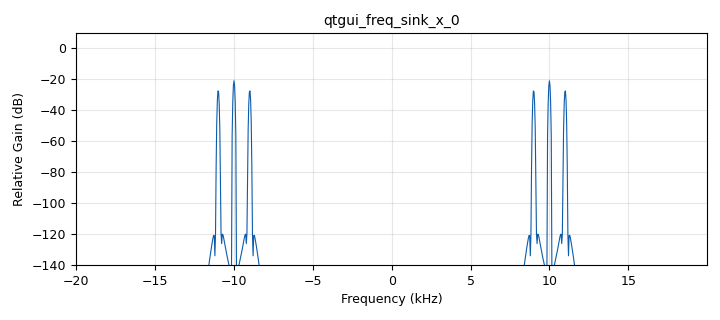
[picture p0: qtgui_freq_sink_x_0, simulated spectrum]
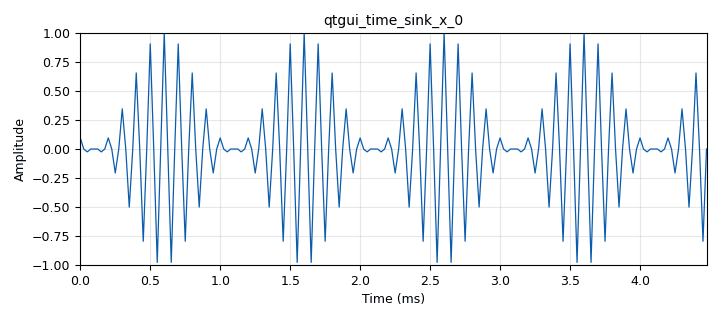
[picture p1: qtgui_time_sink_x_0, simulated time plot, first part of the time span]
options:
  parameters:
    generate_options: qt_gui
    id: AM_Modulation
    output_language: python
    title: AM_Modulation
  states: {}

blocks:
- name: fc
  id: variable
  parameters:
    value: '10000'
  states: {}
- name: fi
  id: variable
  parameters:
    value: '1000'
  states: {}
- name: mod_index
  id: variable
  parameters:
    value: '1'
  states: {}
- name: samp_rate
  id: variable
  parameters:
    value: '40000'
  states: {}
- name: analog_const_source_x_0
  id: analog_const_source_x
  parameters:
    const: '0.5'
    type: float
  states: {}
- name: analog_const_source_x_1
  id: analog_const_source_x
  parameters:
    const: '1'
    type: float
  states: {}
- name: analog_sig_source_x_0
  id: analog_sig_source_x
  parameters:
    amp: '1'
    freq: fi
    offset: '0'
    phase: '0'
    samp_rate: samp_rate
    type: float
    waveform: analog.GR_COS_WAVE
  states: {}
- name: analog_sig_source_x_0_0
  id: analog_sig_source_x
  parameters:
    amp: '1'
    freq: fc
    offset: '0'
    phase: '0'
    samp_rate: samp_rate
    type: float
    waveform: analog.GR_COS_WAVE
  states: {}
- name: blocks_add_xx_0
  id: blocks_add_xx
  parameters:
    type: float
  states: {}
- name: blocks_multiply_const_vxx_0
  id: blocks_multiply_const_vxx
  parameters:
    const: mod_index
    type: float
  states: {}
- name: blocks_multiply_xx_0
  id: blocks_multiply_xx
  parameters:
    type: float
  states: {}
- name: blocks_multiply_xx_0_0
  id: blocks_multiply_xx
  parameters:
    type: float
  states: {}
- name: qtgui_freq_sink_x_0
  id: qtgui_freq_sink_x
  parameters:
    bw: samp_rate
    fc: '0'
    fftsize: '1024'
    type: float
  states: {}
- name: qtgui_time_sink_x_0
  id: qtgui_time_sink_x
  parameters:
    size: '1024'
    srate: samp_rate
    type: float
  states: {}

connections:
- [analog_const_source_x_0, '0', blocks_multiply_xx_0, '0']
- [analog_const_source_x_1, '0', blocks_add_xx_0, '1']
- [analog_sig_source_x_0, '0', blocks_multiply_const_vxx_0, '0']
- [analog_sig_source_x_0_0, '0', blocks_multiply_xx_0_0, '1']
- [blocks_add_xx_0, '0', blocks_multiply_xx_0, '1']
- [blocks_multiply_const_vxx_0, '0', blocks_add_xx_0, '0']
- [blocks_multiply_xx_0, '0', blocks_multiply_xx_0_0, '0']
- [blocks_multiply_xx_0_0, '0', qtgui_freq_sink_x_0, '0']
- [blocks_multiply_xx_0_0, '0', qtgui_time_sink_x_0, '0']

metadata:
  file_format: 1
  grc_version: 3.10.11.0
